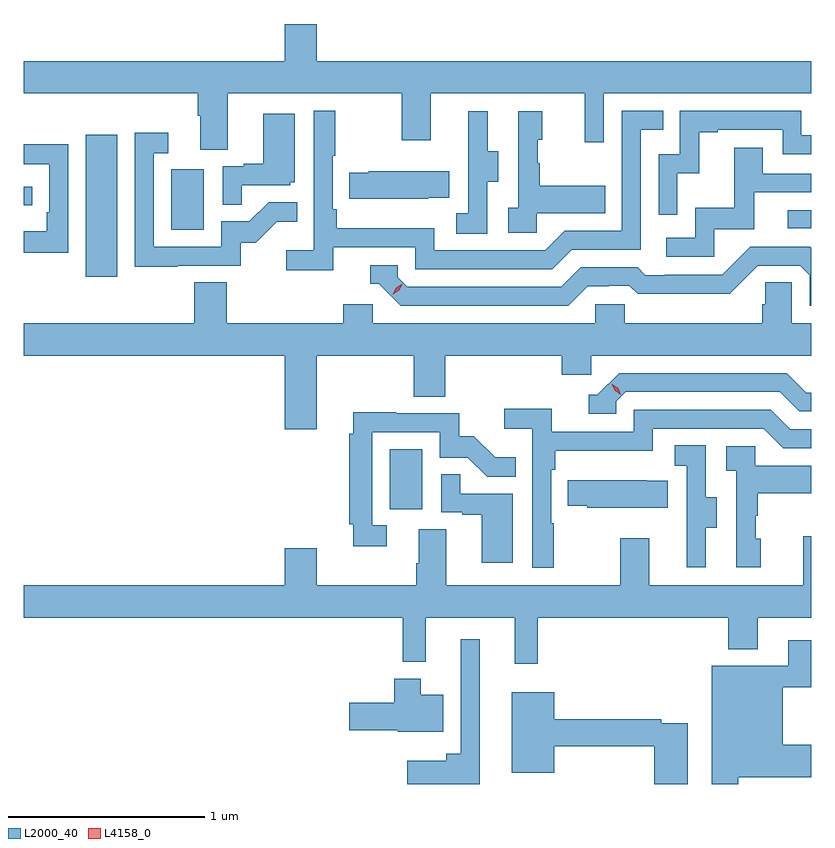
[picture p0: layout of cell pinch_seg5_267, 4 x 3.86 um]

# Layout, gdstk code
import gdstk
lib = gdstk.Library(unit=1e-6, precision=1e-09)
def R(c, l, rs):  # rectangles x0, y0, x1, y1
    for r in rs: c.add(gdstk.rectangle(r[:2], r[2:], *l))
def P(c, l, *ps):  # polygons
    for p in ps: c.add(gdstk.Polygon(p, *l))
L2000_40 = (2000, 40)
L4158_0 = (4158, 0)

pinch_seg5_267 = lib.new_cell('pinch_seg5_267')
R(pinch_seg5_267, L2000_40, [(920.786,899.934,920.95,900.241), (919.241,901.116,919.402,901.837), (919.676,901.356,919.84,901.663), (922.809,901.362,922.927,901.455), (918.927,901.479,918.97,901.575)])
P(pinch_seg5_267, L2000_40, [(920.416,902.401),(920.252,902.401),(920.252,902.212),(918.927,902.212),(918.927,902.048),(919.811,902.048),(919.811,901.936),(919.823,901.936),(919.823,901.762),(919.963,901.762),(919.963,902.048),(920.848,902.048),(920.848,901.809),(920.995,901.809),(920.995,902.048),(921.776,902.048),(921.776,901.8),(921.873,901.8),(921.873,902.048),(922.927,902.048),(922.927,902.212),(920.416,902.212)],
  [(920.498,901.266),(920.916,901.266),(920.916,901.155),(921.613,901.155),(921.712,901.254),(922.062,901.254),(922.062,901.863),(922.175,901.863),(922.175,901.959),(921.966,901.959),(921.966,901.35),(921.675,901.35),(921.576,901.251),(921.012,901.251),(921.012,901.363),(920.516,901.363),(920.516,901.459),(920.496,901.459),(920.496,901.732),(920.509,901.732),(920.509,901.96),(920.4,901.96),(920.4,901.252),(920.259,901.252),(920.259,901.15),(920.498,901.15)],
  [(922.248,901.643),(922.358,901.643),(922.358,901.851),(922.453,901.851),(922.453,901.863),(922.782,901.863),(922.782,901.74),(922.927,901.74),(922.927,901.836),(922.878,901.836),(922.878,901.959),(922.26,901.959),(922.26,901.74),(922.152,901.74),(922.152,901.431),(922.248,901.431)],
  [(921.534,901.439),(921.881,901.439),(921.881,901.579),(921.547,901.579),(921.547,901.694),(921.537,901.694),(921.537,901.812),(921.562,901.812),(921.562,901.957),(921.438,901.957),(921.438,901.466),(921.387,901.466),(921.387,901.341),(921.534,901.341)],
  [(921.282,901.6),(921.337,901.6),(921.337,901.755),(921.283,901.755),(921.283,901.957),(921.185,901.957),(921.185,901.743),(921.186,901.743),(921.186,901.439),(921.123,901.439),(921.123,901.336),(921.282,901.336)],
  [(920.033,901.581),(920.28,901.581),(920.28,901.596),(920.302,901.596),(920.302,901.945),(920.144,901.945),(920.144,901.69),(920.045,901.69),(920.045,901.677),(919.938,901.677),(919.938,901.483),(920.033,901.483)],
  [(919.709,901.173),(920.028,901.173),(920.028,901.29),(920.104,901.29),(920.211,901.397),(920.315,901.397),(920.315,901.496),(920.171,901.496),(920.073,901.398),(919.929,901.398),(919.929,901.269),(919.587,901.269),(919.587,901.743),(919.66,901.743),(919.66,901.849),(919.491,901.849),(919.491,901.168),(919.709,901.168)],
  [(919.152,901.79),(918.927,901.79),(918.927,901.689),(919.056,901.689),(919.056,901.444),(919.043,901.444),(919.043,901.348),(918.927,901.348),(918.927,901.239),(919.152,901.239)],
  [(922.434,901.359),(922.639,901.359),(922.639,901.545),(922.927,901.545),(922.927,901.641),(922.681,901.641),(922.681,901.771),(922.537,901.771),(922.537,901.468),(922.338,901.468),(922.338,901.314),(922.191,901.314),(922.191,901.218),(922.434,901.218)],
  [(920.981,901.517),(921.089,901.517),(921.089,901.654),(920.679,901.654),(920.679,901.644),(920.581,901.644),(920.581,901.514),(920.981,901.514)],
  [(921.793,901.068),(921.9,901.068),(921.9,901.071),(922.003,901.071),(922.045,901.029),(922.278,901.029),(922.278,901.031),(922.514,901.031),(922.656,901.173),(922.872,901.173),(922.92,901.125),(922.92,900.969),(922.927,900.969),(922.927,901.265),(922.923,901.269),(922.617,901.269),(922.476,901.128),(922.183,901.128),(922.183,901.125),(922.084,901.125),(922.045,901.164),(921.756,901.164),(921.657,901.065),(920.874,901.065),(920.826,901.113),(920.826,901.176),(920.687,901.176),(920.687,901.08),(920.73,901.08),(920.841,900.969),(921.694,900.969)],
  [(920.416,900.716),(920.908,900.716),(920.908,900.508),(921.068,900.508),(921.068,900.716),(921.659,900.716),(921.659,900.618),(921.81,900.618),(921.81,900.716),(922.927,900.716),(922.927,900.88),(922.83,900.88),(922.83,901.088),(922.693,901.088),(922.693,900.978),(922.679,900.978),(922.679,900.88),(921.981,900.88),(921.981,900.978),(921.831,900.978),(921.831,900.88),(920.7,900.88),(920.7,900.978),(920.549,900.978),(920.549,900.88),(919.958,900.88),(919.958,901.088),(919.793,901.088),(919.793,900.88),(918.927,900.88),(918.927,900.716),(920.252,900.716),(920.252,900.342),(920.416,900.342)],
  [(921.936,900.483),(921.984,900.531),(922.767,900.531),(922.866,900.432),(922.927,900.432),(922.927,900.528),(922.903,900.528),(922.804,900.627),(921.951,900.627),(921.84,900.516),(921.797,900.516),(921.797,900.42),(921.936,900.42)],
  [(921.619,899.864),(921.606,899.864),(921.606,900.137),(921.626,900.137),(921.626,900.233),(922.122,900.233),(922.122,900.345),(922.686,900.345),(922.785,900.246),(922.927,900.246),(922.927,900.342),(922.822,900.342),(922.723,900.441),(922.026,900.441),(922.026,900.33),(921.608,900.33),(921.608,900.446),(921.369,900.446),(921.369,900.344),(921.51,900.344),(921.51,899.637),(921.619,899.637)],
  [(920.77,899.853),(920.697,899.853),(920.697,900.327),(921.039,900.327),(921.039,900.198),(921.183,900.198),(921.281,900.1),(921.425,900.1),(921.425,900.199),(921.321,900.199),(921.214,900.306),(921.138,900.306),(921.138,900.423),(920.819,900.423),(920.819,900.428),(920.6,900.428),(920.6,900.32),(920.581,900.32),(920.581,899.86),(920.6,899.86),(920.6,899.748),(920.77,899.748)],
  [(922.393,899.842),(922.447,899.842),(922.447,899.997),(922.392,899.997),(922.392,900.26),(922.233,900.26),(922.233,900.157),(922.296,900.157),(922.296,899.853),(922.295,899.853),(922.295,899.64),(922.393,899.64)],
  [(922.672,899.784),(922.647,899.784),(922.647,899.903),(922.657,899.903),(922.657,900.017),(922.927,900.017),(922.927,900.157),(922.644,900.157),(922.644,900.255),(922.497,900.255),(922.497,900.131),(922.548,900.131),(922.548,899.64),(922.672,899.64)],
  [(921.412,900.015),(921.143,900.015),(921.143,900.113),(921.048,900.113),(921.048,899.919),(921.155,899.919),(921.155,899.907),(921.254,899.907),(921.254,899.664),(921.412,899.664)],
  [(922.199,900.079),(922.091,900.079),(922.091,900.082),(921.691,900.082),(921.691,899.953),(921.789,899.953),(921.789,899.942),(922.199,899.942)],
  [(920.969,899.384),(921.422,899.384),(921.422,899.151),(921.539,899.151),(921.539,899.384),(922.505,899.384),(922.505,899.225),(922.657,899.225),(922.657,899.384),(922.927,899.384),(922.927,899.797),(922.886,899.797),(922.886,899.548),(922.105,899.548),(922.105,899.788),(921.958,899.788),(921.958,899.548),(921.073,899.548),(921.073,899.834),(920.933,899.834),(920.933,899.66),(920.921,899.66),(920.921,899.548),(920.416,899.548),(920.416,899.737),(920.252,899.737),(920.252,899.548),(918.927,899.548),(918.927,899.384),(920.851,899.384),(920.851,899.159),(920.969,899.159)],
  [(921.244,899.275),(921.147,899.275),(921.147,898.693),(921.074,898.693),(921.074,898.657),(920.874,898.657),(920.874,898.539),(921.244,898.539)],
  [(922.558,898.574),(922.927,898.574),(922.927,898.738),(922.783,898.738),(922.783,899.031),(922.927,899.031),(922.927,899.269),(922.811,899.269),(922.811,899.14),(922.421,899.14),(922.421,898.539),(922.558,898.539)],
  [(921.058,898.993),(920.944,898.993),(920.944,899.074),(920.81,899.074),(920.81,898.953),(920.58,898.953),(920.58,898.811),(920.826,898.811),(920.826,898.805),(921.058,898.805)],
  [(922.3,898.848),(922.166,898.848),(922.166,898.868),(921.622,898.868),(921.622,899.005),(921.407,899.005),(921.407,898.595),(921.622,898.595),(921.622,898.732),(922.13,898.732),(922.13,898.539),(922.3,898.539)])
P(pinch_seg5_267, L4158_0, [(921.961,900.518),(921.931,900.538),(921.915,900.571),(921.915,900.571),(921.916,900.571),(921.946,900.551),(921.961,900.518),(921.961,900.518)],
  [(920.802,901.027),(920.802,901.028),(920.819,901.06),(920.849,901.08),(920.85,901.08),(920.85,901.079),(920.833,901.047),(920.803,901.027)])

lib.write_gds('pinch_seg5_267.gds')
